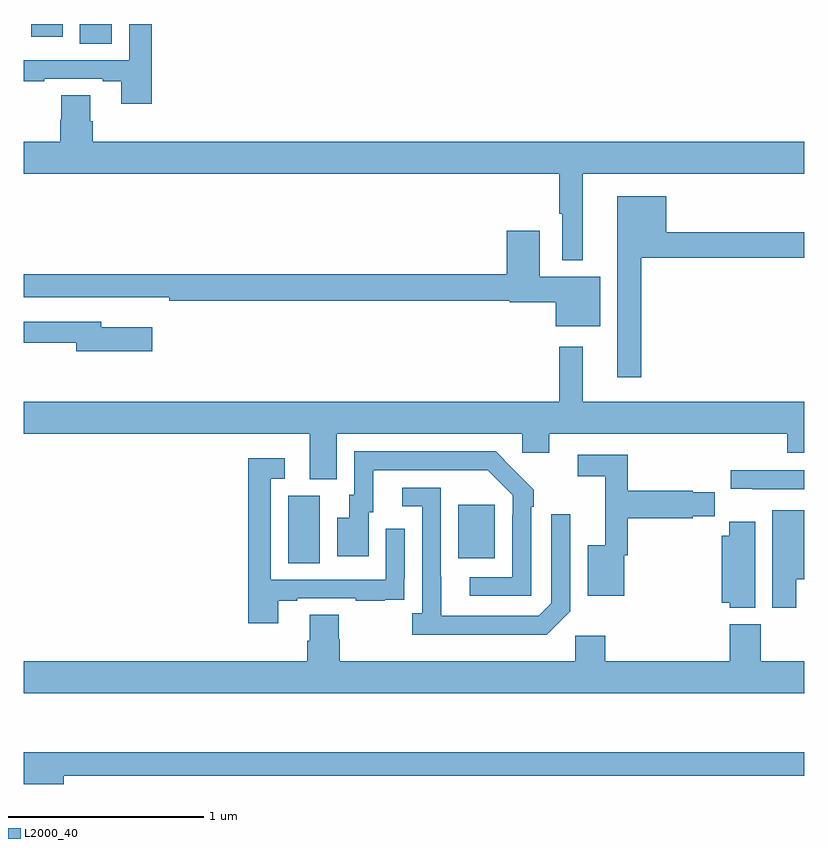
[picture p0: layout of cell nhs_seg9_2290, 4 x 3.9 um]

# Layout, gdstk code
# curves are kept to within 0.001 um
import gdstk
lib = gdstk.Library(unit=1e-6, precision=1e-09)
def R(c, l, rs):  # rectangles x0, y0, x1, y1
    for r in rs: c.add(gdstk.rectangle(r[:2], r[2:], *l))
def P(c, l, *ps):  # polygons
    for p in ps: c.add(gdstk.Polygon(p, *l))
L2000_40 = (2000, 40)

nhs_seg9_2290 = lib.new_cell('nhs_seg9_2290')
R(nhs_seg9_2290, L2000_40, [(242.354,1215.736,242.518,1216.08), (243.227,1215.761,243.415,1216.036), (241.286,1218.4,241.45,1218.5), (241.037,1218.435,241.198,1218.5)])
P(nhs_seg9_2290, L2000_40, [(241.655,1218.5),(241.539,1218.5),(241.539,1218.315),(241,1218.315),(241,1218.207),(241.103,1218.207),(241.103,1218.219),(241.403,1218.219),(241.403,1218.207),(241.499,1218.207),(241.499,1218.09),(241.655,1218.09)],
  [(243.865,1217.732),(245,1217.732),(245,1217.896),(241.352,1217.896),(241.352,1218.002),(241.339,1218.002),(241.339,1218.134),(241.192,1218.134),(241.192,1218.009),(241.187,1218.009),(241.187,1217.896),(241,1217.896),(241,1217.732),(243.744,1217.732),(243.744,1217.527),(243.761,1217.527),(243.761,1217.288),(243.865,1217.288)],
  [(244.165,1217.302),(245,1217.302),(245,1217.431),(244.294,1217.431),(244.294,1217.617),(244.043,1217.617),(244.043,1216.689),(244.165,1216.689)],
  [(243.955,1217.203),(243.646,1217.203),(243.646,1217.44),(243.476,1217.44),(243.476,1217.216),(241,1217.216),(241,1217.1),(241.492,1217.1),(241.492,1217.099),(241.744,1217.099),(241.744,1217.08),(243.492,1217.08),(243.492,1217.072),(243.728,1217.072),(243.728,1216.949),(243.955,1216.949)],
  [(241.657,1216.945),(241.396,1216.945),(241.396,1216.974),(241,1216.974),(241,1216.866),(241.268,1216.866),(241.268,1216.823),(241.657,1216.823)],
  [(242.605,1216.4),(243.555,1216.4),(243.555,1216.302),(243.694,1216.302),(243.694,1216.4),(244.913,1216.4),(244.913,1216.301),(245,1216.301),(245,1216.564),(243.865,1216.564),(243.865,1216.846),(243.744,1216.846),(243.744,1216.564),(241,1216.564),(241,1216.4),(242.465,1216.4),(242.465,1216.165),(242.605,1216.165)],
  [(243.6,1216.025),(243.615,1216.025),(243.615,1216.113),(243.418,1216.308),(242.694,1216.308),(242.694,1216.086),(242.669,1216.086),(242.669,1215.967),(242.606,1215.967),(242.606,1215.771),(242.767,1215.771),(242.767,1215.996),(242.791,1215.996),(242.791,1216.212),(243.379,1216.212),(243.507,1216.083),(243.507,1215.983),(243.504,1215.983),(243.504,1215.663),(243.285,1215.663),(243.285,1215.567),(243.6,1215.567)],
  [(244.078,1215.777),(244.097,1215.777),(244.097,1215.965),(244.43,1215.965),(244.43,1215.977),(244.541,1215.977),(244.541,1216.1),(244.43,1216.1),(244.43,1216.107),(244.097,1216.107),(244.097,1216.29),(243.84,1216.29),(243.84,1216.182),(243.98,1216.182),(243.98,1215.826),(243.89,1215.826),(243.89,1215.569),(244.078,1215.569)],
  [(242.305,1215.543),(242.401,1215.543),(242.401,1215.555),(242.701,1215.555),(242.701,1215.543),(242.849,1215.543),(242.849,1215.549),(242.951,1215.549),(242.951,1215.658),(242.952,1215.658),(242.952,1215.913),(242.856,1215.913),(242.856,1215.651),(242.265,1215.651),(242.265,1216.167),(242.338,1216.167),(242.338,1216.273),(242.149,1216.273),(242.149,1215.426),(242.305,1215.426)],
  [(245,1216.212),(244.624,1216.212),(244.624,1216.117),(244.735,1216.117),(244.735,1216.115),(245,1216.115)],
  [(243.801,1215.489),(243.801,1215.985),(243.705,1215.985),(243.705,1215.531),(243.639,1215.465),(243.139,1215.465),(243.138,1216.122),(242.94,1216.122),(242.94,1216.026),(243.042,1216.026),(243.042,1215.478),(242.991,1215.478),(242.991,1215.368),(243.68,1215.368)],
  [(244.96,1215.653),(245,1215.653),(245,1216.006),(244.838,1216.006),(244.838,1215.507),(244.96,1215.507)],
  [(244.75,1215.947),(244.616,1215.947),(244.616,1215.877),(244.577,1215.877),(244.577,1215.533),(244.62,1215.533),(244.62,1215.506),(244.75,1215.506)],
  [(245,1215.232),(244.779,1215.232),(244.779,1215.421),(244.619,1215.421),(244.619,1215.232),(243.98,1215.232),(243.98,1215.364),(243.828,1215.364),(243.828,1215.232),(242.618,1215.232),(242.618,1215.345),(242.613,1215.345),(242.613,1215.47),(242.465,1215.47),(242.465,1215.338),(242.453,1215.338),(242.453,1215.232),(241,1215.232),(241,1215.068),(245,1215.068)],
  [(241.204,1214.646),(245,1214.646),(245,1214.767),(241,1214.767),(241,1214.603),(241.204,1214.603)])

lib.write_gds('nhs_seg9_2290.gds')
